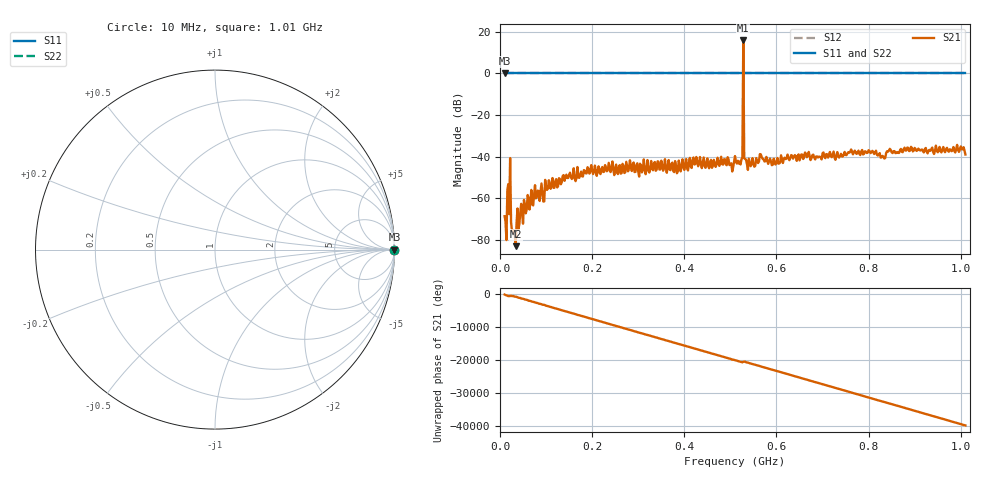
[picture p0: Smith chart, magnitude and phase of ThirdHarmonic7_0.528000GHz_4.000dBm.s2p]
! 8/17/2025 3:40:22 PM
! C:\ANRITSUVNA\TEMP\TEMP.S2P
! CHANNEL.1
! TR.MEASUREMENT
! RAW.DATA
! RF.CORRECTION.OFF
! AVERAGING.OFF
! IF.BANDWIDTH: 5KHZ
! SWEEPTYPE:  FREQ.SWEEP(Linear)
! Reference Plane Port Info
! PORT:  PORT1  PORT2
! DISTANCE:  0  m  0  m
! TIME:  0  s  0  s
! PHASE.OFFSET:  0  deg.  0  deg.
! LOSS:  0  dB  0  dB
! REF.LOSS:  0  dB  0  dB
! REF.FREQ:  0  Hz  0  Hz
! Power Info
! POWER:  -20  dBm  -20  dBm
! EFF.POWER:  -20  dBm  -20  dBm
! SOURCE.ATTEN:  0  dB  0  dB
! TEST.ATTEN:  0  dB  0  dB
# GHZ S RI R 50.0
! FREQ.GHZ  S11RE  S11IM  S21RE  S21IM  S12RE  S12IM  S22RE  S22IM
!; PortSelection: Port_12
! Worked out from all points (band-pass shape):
!   501 points, 10 MHz to 1.01 GHz, reference 50 ohm
!   highest |S21| = 15.78 dB at 528 MHz (marker M1); lowest = -83.0 dB at 34 MHz (marker M2)
!   |S21| within 3 dB of the highest: 527.8932 MHz to 528.1062 MHz (213.1 kHz wide, 0.0404 % of centre)
!   lowest |S11| = 0.0 dB at 10 MHz (marker M3)
!   |S11| at or under -10 dB: nowhere
!   |S22| runs from 0.0 to 0.0 dB; largest |S21 - S12| = 6
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0.01  1 0  -0.000273 -0.000253  1 0  1 0
0.016  1 0  -0.00104 -0.00122  1 0  1 0
0.02  1 0  -0.000284 0.000306  1 0  1 0
0.026  1 0  -2.86e-05 0.000164  1 0  1 0
0.028  1 0  -3.02e-05 0.000148  1 0  1 0
0.034  1 0  2.81e-05 -6.51e-05  1 0  1 0
0.05  1 0  0.000222 0.000104  1 0  1 0
0.078  1 0  -0.000104 -0.000988  1 0  1 0
0.178  1 0  -0.00323 -0.000979  1 0  1 0
0.24  1 0  -0.00362 -0.00226  1 0  1 0
0.344  1 0  0.00732 -0.00185  1 0  1 0
0.51  1 0  -0.0101 -0.00203  1 0  1 0
0.522  1 0  0.00258 0.00597  1 0  1 0
0.524  1 0  0.00843 -0.00156  1 0  1 0
0.528  1 0  1.498 5.965  1 0  1 0
0.532  1 0  0.00744 0.00464  1 0  1 0
0.534  1 0  0.00354 -0.00771  1 0  1 0
0.678  1 0  0.00588 -0.00918  1 0  1 0
0.804  1 0  -0.000775 -0.0121  1 0  1 0
0.832  1 0  -0.00702 -0.00717  1 0  1 0
0.844  1 0  -0.00635 0.0124  1 0  1 0
1.01  1 0  0.000418 -0.0112  1 0  1 0
